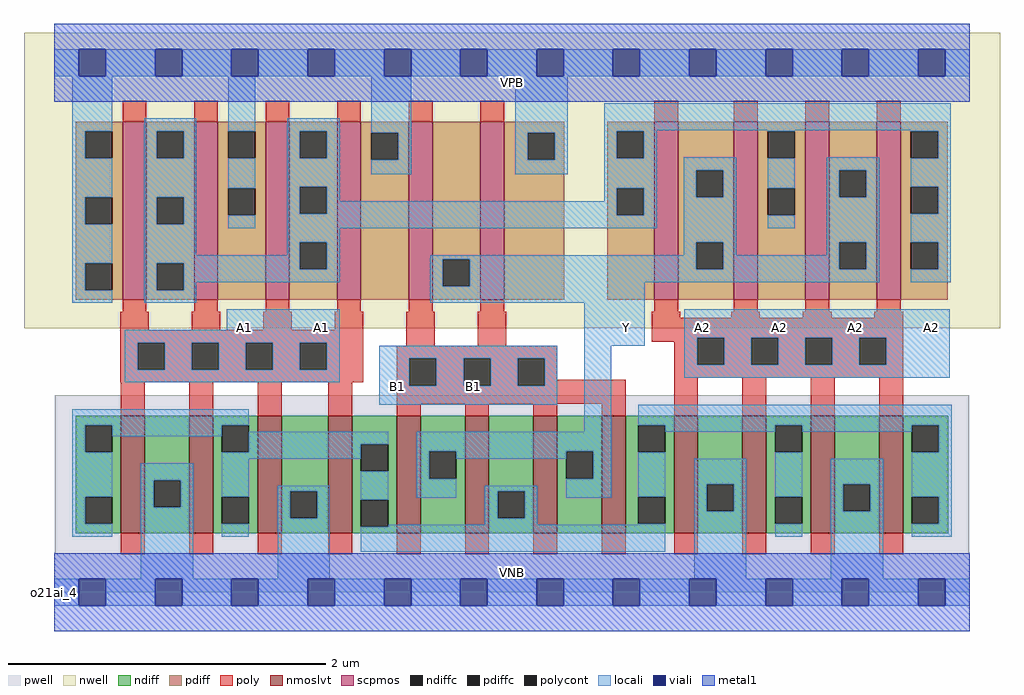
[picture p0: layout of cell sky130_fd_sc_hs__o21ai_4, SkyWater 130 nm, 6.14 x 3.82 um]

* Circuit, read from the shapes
.subckt sky130_fd_sc_hs__o21ai_4 A1 A2 B1 VGND VNB VPB VPWR Y
XM1 VGND A1 n1 VNB sky130_fd_pr__nfet_01v8_lvt w=0.74 l=0.15 m=4
XM2 Y B1 n1 VNB sky130_fd_pr__nfet_01v8_lvt w=0.74 l=0.15 m=4
XM3 VGND A2 n1 VNB sky130_fd_pr__nfet_01v8_lvt w=0.74 l=0.15 m=4
XM4 n2 A1 VPWR VPB sky130_fd_pr__pfet_01v8 w=1.12 l=0.15 m=4
XM5 Y B1 VPWR VPB sky130_fd_pr__pfet_01v8 w=1.12 l=0.15 m=2
XM6 Y A2 n2 VPB sky130_fd_pr__pfet_01v8 w=1.12 l=0.15 m=4
.ends

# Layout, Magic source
magic
tech sky130A
magscale 1 2
<< nwell >>
rect -38 332 1190 704
<< pwell >>
rect 1 49 1151 248
rect 0 0 1152 49
<< scpmos >>
rect 86 368 116 592
rect 176 368 206 592
rect 266 368 296 592
rect 356 368 386 592
rect 446 368 476 592
rect 536 368 566 592
rect 755 368 785 592
rect 855 368 885 592
rect 945 368 975 592
rect 1035 368 1065 592
<< nmoslvt >>
rect 84 74 114 222
rect 170 74 200 222
rect 256 74 286 222
rect 345 74 375 222
rect 431 74 461 222
rect 517 74 547 222
rect 603 74 633 222
rect 689 74 719 222
rect 780 74 810 222
rect 866 74 896 222
rect 952 74 982 222
rect 1038 74 1068 222
<< ndiff >>
rect 27 210 84 222
rect 27 176 39 210
rect 73 176 84 210
rect 27 120 84 176
rect 27 86 39 120
rect 73 86 84 120
rect 27 74 84 86
rect 114 141 170 222
rect 114 107 125 141
rect 159 107 170 141
rect 114 74 170 107
rect 200 210 256 222
rect 200 176 211 210
rect 245 176 256 210
rect 200 120 256 176
rect 200 86 211 120
rect 245 86 256 120
rect 200 74 256 86
rect 286 127 345 222
rect 286 93 297 127
rect 331 93 345 127
rect 286 74 345 93
rect 375 186 431 222
rect 375 152 386 186
rect 420 152 431 186
rect 375 116 431 152
rect 375 82 386 116
rect 420 82 431 116
rect 375 74 431 82
rect 461 177 517 222
rect 461 143 472 177
rect 506 143 517 177
rect 461 74 517 143
rect 547 127 603 222
rect 547 93 558 127
rect 592 93 603 127
rect 547 74 603 93
rect 633 177 689 222
rect 633 143 644 177
rect 678 143 689 177
rect 633 74 689 143
rect 719 210 780 222
rect 719 176 735 210
rect 769 176 780 210
rect 719 120 780 176
rect 719 86 735 120
rect 769 86 780 120
rect 719 74 780 86
rect 810 136 866 222
rect 810 102 821 136
rect 855 102 866 136
rect 810 74 866 102
rect 896 210 952 222
rect 896 176 907 210
rect 941 176 952 210
rect 896 120 952 176
rect 896 86 907 120
rect 941 86 952 120
rect 896 74 952 86
rect 982 136 1038 222
rect 982 102 993 136
rect 1027 102 1038 136
rect 982 74 1038 102
rect 1068 210 1125 222
rect 1068 176 1079 210
rect 1113 176 1125 210
rect 1068 120 1125 176
rect 1068 86 1079 120
rect 1113 86 1125 120
rect 1068 74 1125 86
<< pdiff >>
rect 27 580 86 592
rect 27 546 39 580
rect 73 546 86 580
rect 27 497 86 546
rect 27 463 39 497
rect 73 463 86 497
rect 27 414 86 463
rect 27 380 39 414
rect 73 380 86 414
rect 27 368 86 380
rect 116 580 176 592
rect 116 546 129 580
rect 163 546 176 580
rect 116 497 176 546
rect 116 463 129 497
rect 163 463 176 497
rect 116 414 176 463
rect 116 380 129 414
rect 163 380 176 414
rect 116 368 176 380
rect 206 580 266 592
rect 206 546 219 580
rect 253 546 266 580
rect 206 508 266 546
rect 206 474 219 508
rect 253 474 266 508
rect 206 368 266 474
rect 296 580 356 592
rect 296 546 309 580
rect 343 546 356 580
rect 296 510 356 546
rect 296 476 309 510
rect 343 476 356 510
rect 296 440 356 476
rect 296 406 309 440
rect 343 406 356 440
rect 296 368 356 406
rect 386 578 446 592
rect 386 544 399 578
rect 433 544 446 578
rect 386 368 446 544
rect 476 419 536 592
rect 476 385 489 419
rect 523 385 536 419
rect 476 368 536 385
rect 566 578 642 592
rect 566 544 596 578
rect 630 544 642 578
rect 566 368 642 544
rect 696 580 755 592
rect 696 546 708 580
rect 742 546 755 580
rect 696 508 755 546
rect 696 474 708 508
rect 742 474 755 508
rect 696 368 755 474
rect 785 531 855 592
rect 785 497 808 531
rect 842 497 855 531
rect 785 440 855 497
rect 785 406 808 440
rect 842 406 855 440
rect 785 368 855 406
rect 885 580 945 592
rect 885 546 898 580
rect 932 546 945 580
rect 885 508 945 546
rect 885 474 898 508
rect 932 474 945 508
rect 885 368 945 474
rect 975 531 1035 592
rect 975 497 988 531
rect 1022 497 1035 531
rect 975 440 1035 497
rect 975 406 988 440
rect 1022 406 1035 440
rect 975 368 1035 406
rect 1065 580 1124 592
rect 1065 546 1078 580
rect 1112 546 1124 580
rect 1065 510 1124 546
rect 1065 476 1078 510
rect 1112 476 1124 510
rect 1065 440 1124 476
rect 1065 406 1078 440
rect 1112 406 1124 440
rect 1065 368 1124 406
<< ndiffc >>
rect 39 176 73 210
rect 39 86 73 120
rect 125 107 159 141
rect 211 176 245 210
rect 211 86 245 120
rect 297 93 331 127
rect 386 152 420 186
rect 386 82 420 116
rect 472 143 506 177
rect 558 93 592 127
rect 644 143 678 177
rect 735 176 769 210
rect 735 86 769 120
rect 821 102 855 136
rect 907 176 941 210
rect 907 86 941 120
rect 993 102 1027 136
rect 1079 176 1113 210
rect 1079 86 1113 120
<< pdiffc >>
rect 39 546 73 580
rect 39 463 73 497
rect 39 380 73 414
rect 129 546 163 580
rect 129 463 163 497
rect 129 380 163 414
rect 219 546 253 580
rect 219 474 253 508
rect 309 546 343 580
rect 309 476 343 510
rect 309 406 343 440
rect 399 544 433 578
rect 489 385 523 419
rect 596 544 630 578
rect 708 546 742 580
rect 708 474 742 508
rect 808 497 842 531
rect 808 406 842 440
rect 898 546 932 580
rect 898 474 932 508
rect 988 497 1022 531
rect 988 406 1022 440
rect 1078 546 1112 580
rect 1078 476 1112 510
rect 1078 406 1112 440
<< poly >>
rect 86 592 116 618
rect 176 592 206 618
rect 266 592 296 618
rect 356 592 386 618
rect 446 592 476 618
rect 536 592 566 618
rect 755 592 785 618
rect 855 592 885 618
rect 945 592 975 618
rect 1035 592 1065 618
rect 86 353 116 368
rect 176 353 206 368
rect 266 353 296 368
rect 356 353 386 368
rect 446 353 476 368
rect 536 353 566 368
rect 755 353 785 368
rect 855 353 885 368
rect 945 353 975 368
rect 1035 353 1065 368
rect 83 330 119 353
rect 173 330 209 353
rect 263 330 299 353
rect 353 330 389 353
rect 83 314 389 330
rect 83 280 105 314
rect 139 280 173 314
rect 207 280 241 314
rect 275 280 309 314
rect 343 280 389 314
rect 443 310 479 353
rect 533 310 569 353
rect 752 345 788 353
rect 852 345 888 353
rect 942 345 978 353
rect 1032 345 1068 353
rect 752 320 1068 345
rect 752 315 809 320
rect 83 264 389 280
rect 431 294 633 310
rect 84 222 114 264
rect 170 222 200 264
rect 256 222 286 264
rect 345 222 375 264
rect 431 260 447 294
rect 481 260 515 294
rect 549 260 583 294
rect 617 267 633 294
rect 780 286 809 315
rect 843 286 877 320
rect 911 286 945 320
rect 979 286 1013 320
rect 1047 286 1068 320
rect 780 270 1068 286
rect 617 260 719 267
rect 431 237 719 260
rect 431 222 461 237
rect 517 222 547 237
rect 603 222 633 237
rect 689 222 719 237
rect 780 222 810 270
rect 866 222 896 270
rect 952 222 982 270
rect 1038 222 1068 270
rect 84 48 114 74
rect 170 48 200 74
rect 256 48 286 74
rect 345 48 375 74
rect 431 48 461 74
rect 517 48 547 74
rect 603 48 633 74
rect 689 48 719 74
rect 780 48 810 74
rect 866 48 896 74
rect 952 48 982 74
rect 1038 48 1068 74
<< polycont >>
rect 105 280 139 314
rect 173 280 207 314
rect 241 280 275 314
rect 309 280 343 314
rect 447 260 481 294
rect 515 260 549 294
rect 583 260 617 294
rect 809 286 843 320
rect 877 286 911 320
rect 945 286 979 320
rect 1013 286 1047 320
<< locali >>
rect 0 649 31 683
rect 65 649 127 683
rect 161 649 223 683
rect 257 649 319 683
rect 353 649 415 683
rect 449 649 511 683
rect 545 649 607 683
rect 641 649 703 683
rect 737 649 799 683
rect 833 649 895 683
rect 929 649 991 683
rect 1025 649 1087 683
rect 1121 649 1152 683
rect 23 580 73 649
rect 23 546 39 580
rect 23 497 73 546
rect 23 463 39 497
rect 23 414 73 463
rect 23 380 39 414
rect 23 364 73 380
rect 113 580 179 596
rect 113 546 129 580
rect 163 546 179 580
rect 113 497 179 546
rect 113 463 129 497
rect 163 463 179 497
rect 113 424 179 463
rect 219 580 253 649
rect 219 508 253 546
rect 219 458 253 474
rect 293 580 359 596
rect 293 546 309 580
rect 343 546 359 580
rect 293 510 359 546
rect 399 578 449 649
rect 433 544 449 578
rect 399 526 449 544
rect 580 578 646 649
rect 580 544 596 578
rect 630 544 646 578
rect 580 526 646 544
rect 692 581 1128 615
rect 692 580 758 581
rect 692 546 708 580
rect 742 546 758 580
rect 898 580 932 581
rect 293 476 309 510
rect 343 492 359 510
rect 692 508 758 546
rect 692 492 708 508
rect 343 476 708 492
rect 293 474 708 476
rect 742 474 758 508
rect 293 458 758 474
rect 792 531 858 547
rect 792 497 808 531
rect 842 497 858 531
rect 293 440 359 458
rect 293 424 309 440
rect 113 414 309 424
rect 113 380 129 414
rect 163 406 309 414
rect 343 406 359 440
rect 792 440 858 497
rect 1078 580 1128 581
rect 898 508 932 546
rect 898 458 932 474
rect 972 531 1038 547
rect 972 497 988 531
rect 1022 497 1038 531
rect 792 424 808 440
rect 163 390 359 406
rect 473 419 808 424
rect 163 380 179 390
rect 113 364 179 380
rect 473 385 489 419
rect 523 406 808 419
rect 842 424 858 440
rect 972 440 1038 497
rect 972 424 988 440
rect 842 406 988 424
rect 1022 406 1038 440
rect 523 390 1038 406
rect 1112 546 1128 580
rect 1078 510 1128 546
rect 1112 476 1128 510
rect 1078 440 1128 476
rect 1112 406 1128 440
rect 1078 390 1128 406
rect 523 385 743 390
rect 473 364 743 385
rect 217 330 359 356
rect 89 314 359 330
rect 89 280 105 314
rect 139 280 173 314
rect 207 280 241 314
rect 275 280 309 314
rect 343 280 359 314
rect 667 310 743 364
rect 793 320 1127 356
rect 89 264 359 280
rect 409 294 633 310
rect 409 260 447 294
rect 481 260 515 294
rect 549 260 583 294
rect 617 260 633 294
rect 409 236 633 260
rect 23 210 245 230
rect 23 176 39 210
rect 73 196 211 210
rect 23 120 73 176
rect 667 202 701 310
rect 793 286 809 320
rect 843 286 877 320
rect 911 286 945 320
rect 979 286 1013 320
rect 1047 286 1127 320
rect 793 270 1127 286
rect 245 186 420 202
rect 245 176 386 186
rect 211 168 386 176
rect 23 86 39 120
rect 23 70 73 86
rect 109 141 175 162
rect 109 107 125 141
rect 159 107 175 141
rect 109 17 175 107
rect 211 120 245 168
rect 211 70 245 86
rect 281 127 347 134
rect 281 93 297 127
rect 331 93 347 127
rect 281 17 347 93
rect 386 116 420 152
rect 456 177 701 202
rect 456 143 472 177
rect 506 168 644 177
rect 456 119 506 143
rect 678 143 701 177
rect 542 127 608 134
rect 542 93 558 127
rect 592 93 608 127
rect 644 119 701 143
rect 735 210 1129 236
rect 769 202 907 210
rect 735 120 769 176
rect 941 202 1079 210
rect 542 85 608 93
rect 735 85 769 86
rect 420 82 769 85
rect 386 51 769 82
rect 805 136 871 168
rect 805 102 821 136
rect 855 102 871 136
rect 805 17 871 102
rect 907 120 941 176
rect 1113 176 1129 210
rect 907 70 941 86
rect 977 136 1043 168
rect 977 102 993 136
rect 1027 102 1043 136
rect 977 17 1043 102
rect 1079 120 1129 176
rect 1113 86 1129 120
rect 1079 70 1129 86
rect 0 -17 31 17
rect 65 -17 127 17
rect 161 -17 223 17
rect 257 -17 319 17
rect 353 -17 415 17
rect 449 -17 511 17
rect 545 -17 607 17
rect 641 -17 703 17
rect 737 -17 799 17
rect 833 -17 895 17
rect 929 -17 991 17
rect 1025 -17 1087 17
rect 1121 -17 1152 17
<< viali >>
rect 31 649 65 683
rect 127 649 161 683
rect 223 649 257 683
rect 319 649 353 683
rect 415 649 449 683
rect 511 649 545 683
rect 607 649 641 683
rect 703 649 737 683
rect 799 649 833 683
rect 895 649 929 683
rect 991 649 1025 683
rect 1087 649 1121 683
rect 31 -17 65 17
rect 127 -17 161 17
rect 223 -17 257 17
rect 319 -17 353 17
rect 415 -17 449 17
rect 511 -17 545 17
rect 607 -17 641 17
rect 703 -17 737 17
rect 799 -17 833 17
rect 895 -17 929 17
rect 991 -17 1025 17
rect 1087 -17 1121 17
<< metal1 >>
rect 0 683 1152 715
rect 0 649 31 683
rect 65 649 127 683
rect 161 649 223 683
rect 257 649 319 683
rect 353 649 415 683
rect 449 649 511 683
rect 545 649 607 683
rect 641 649 703 683
rect 737 649 799 683
rect 833 649 895 683
rect 929 649 991 683
rect 1025 649 1087 683
rect 1121 649 1152 683
rect 0 617 1152 649
rect 0 17 1152 49
rect 0 -17 31 17
rect 65 -17 127 17
rect 161 -17 223 17
rect 257 -17 319 17
rect 353 -17 415 17
rect 449 -17 511 17
rect 545 -17 607 17
rect 641 -17 703 17
rect 737 -17 799 17
rect 833 -17 895 17
rect 929 -17 991 17
rect 1025 -17 1087 17
rect 1121 -17 1152 17
rect 0 -49 1152 -17
<< labels >>
rlabel comment s 0 0 0 0 4 o21ai_4
flabel pwell s 0 0 1152 49 0 FreeSans 200 0 0 0 VNB
port 5 nsew ground bidirectional
flabel nwell s 0 617 1152 666 0 FreeSans 200 0 0 0 VPB
port 6 nsew power bidirectional
flabel metal1 s 0 617 1152 666 0 FreeSans 340 0 0 0 VPWR
port 7 nsew power bidirectional
flabel metal1 s 0 0 1152 49 0 FreeSans 340 0 0 0 VGND
port 4 nsew ground bidirectional
flabel locali s 703 316 737 350 0 FreeSans 340 0 0 0 Y
port 8 nsew signal output
flabel locali s 223 316 257 350 0 FreeSans 340 0 0 0 A1
port 1 nsew signal input
flabel locali s 319 316 353 350 0 FreeSans 340 0 0 0 A1
port 1 nsew signal input
flabel locali s 799 316 833 350 0 FreeSans 340 0 0 0 A2
port 2 nsew signal input
flabel locali s 895 316 929 350 0 FreeSans 340 0 0 0 A2
port 2 nsew signal input
flabel locali s 991 316 1025 350 0 FreeSans 340 0 0 0 A2
port 2 nsew signal input
flabel locali s 1087 316 1121 350 0 FreeSans 340 0 0 0 A2
port 2 nsew signal input
flabel locali s 415 242 449 276 0 FreeSans 340 0 0 0 B1
port 3 nsew signal input
flabel locali s 511 242 545 276 0 FreeSans 340 0 0 0 B1
port 3 nsew signal input
<< properties >>
string LEFsite unit
string LEFclass CORE
string FIXED_BBOX 0 0 1152 666
string GDS_FILE $PDKPATH/libs.ref/sky130_fd_sc_hs/gds/sky130_fd_sc_hs.gds
string LEFsymmetry X Y
string GDS_END 2665856
string GDS_START 2655796
<< end >>
